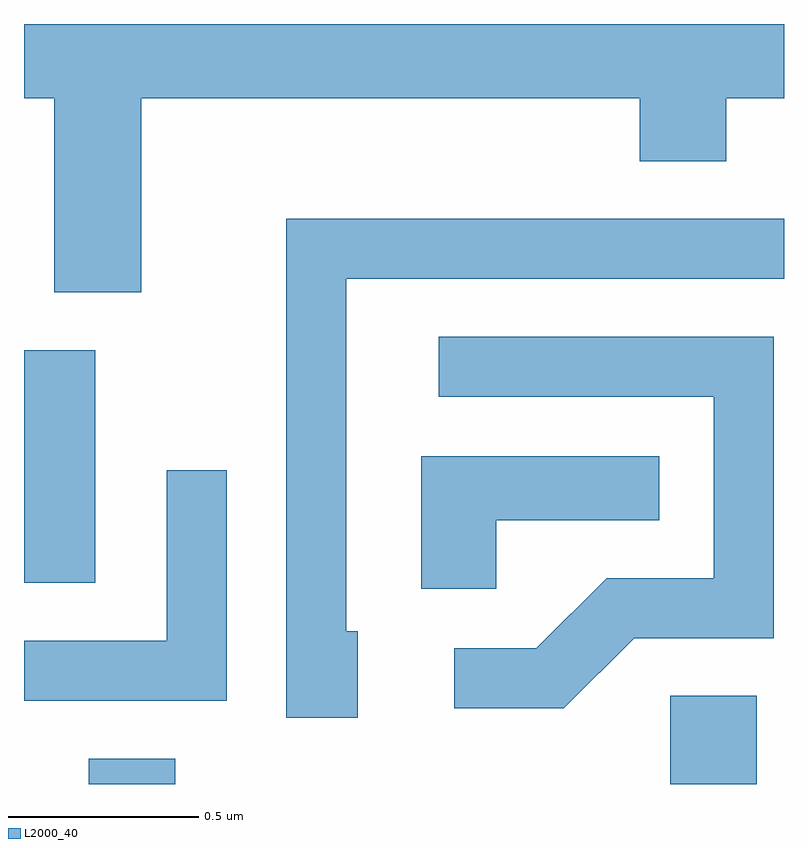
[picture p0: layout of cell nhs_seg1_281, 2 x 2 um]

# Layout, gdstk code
import gdstk
lib = gdstk.Library(unit=1e-6, precision=1e-09)
def R(c, l, rs):  # rectangles x0, y0, x1, y1
    for r in rs: c.add(gdstk.rectangle(r[:2], r[2:], *l))
def P(c, l, *ps):  # polygons
    for p in ps: c.add(gdstk.Polygon(p, *l))
L2000_40 = (2000, 40)

nhs_seg1_281 = lib.new_cell('nhs_seg1_281')
R(nhs_seg1_281, L2000_40, [(187.781,846.712,188.009,846.779), (189.311,846.712,189.539,846.944), (187.611,847.241,187.799,847.854)])
P(nhs_seg1_281, L2000_40, [(187.919,848.516),(189.231,848.516),(189.231,848.351),(189.459,848.351),(189.459,848.516),(189.611,848.516),(189.611,848.712),(187.611,848.712),(187.611,848.516),(187.691,848.516),(187.691,848.006),(187.919,848.006)],
  [(188.489,847.114),(188.459,847.114),(188.459,848.041),(189.611,848.041),(189.611,848.199),(188.301,848.199),(188.301,846.886),(188.489,846.886)],
  [(189.217,847.096),(189.584,847.096),(189.584,847.889),(188.703,847.889),(188.703,847.731),(189.426,847.731),(189.426,847.254),(189.144,847.254),(188.959,847.069),(188.743,847.069),(188.743,846.911),(189.032,846.911)],
  [(188.854,847.406),(189.283,847.406),(189.283,847.574),(188.656,847.574),(188.656,847.226),(188.854,847.226)],
  [(188.144,847.538),(187.986,847.538),(187.986,847.089),(187.611,847.089),(187.611,846.931),(188.144,846.931)])

lib.write_gds('nhs_seg1_281.gds')
